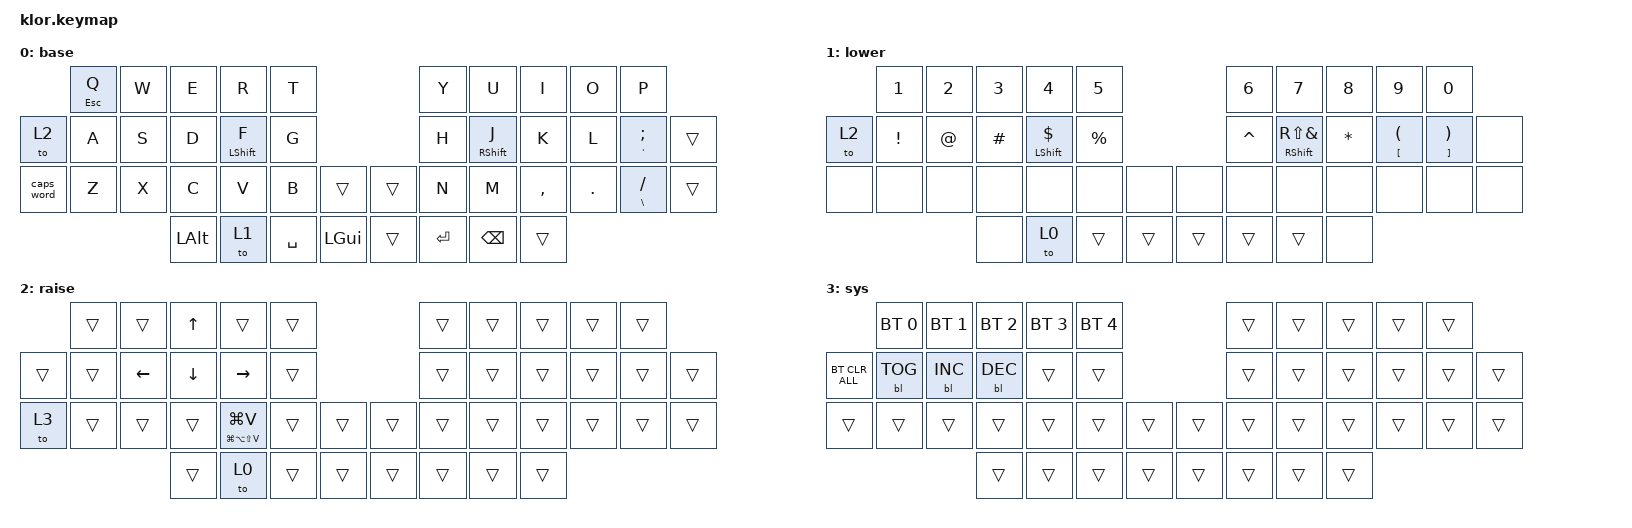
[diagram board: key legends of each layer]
//                               █         █    █            ▄▄▄▀▀▀▀▀▀▄▄▄        █▀▀▀▀▀▀▀▀▀▀█
//                               █        █     █          ▄▀            ▀▄      █          █
//                               █       █      █        ▄▀                ▀▄    █          █
//                               █      █       █        █                  █    █          █
//                               █     █        █       █                    █   █          █
//                               █    █         █       █                    █   █▄▄▄▄▄▄▄▄▄▄█
//                               █   █ █        █       █                    █   █      █
//                               █  █   █       █        █                  █    █       █
//                               █ █     █      █        ▀▄                ▄▀    █        █
//                               ██       █     █          ▀▄            ▄▀      █         █
//                               █         █    █▄▄▄▄▄▄▄▄    ▀▀▀▄▄▄▄▄▄▀▀▀        █          █
//
// ▄▄▄▄▄▄▄▄▄▄▄▄▄▄▄▄▄▄▄▄▄▄▄▄▄▄▄▄▄▄▄▄▄▄▄▄▄▄▄▄▄▄▄▄▄▄▄▄▄▄▄▄▄▄▄▄▄▄▄▄▄▄▄▄▄▄▄▄▄▄▄▄▄▄▄▄▄▄▄▄▄▄▄▄▄▄▄▄▄▄▄▄▄▄▄▄▄▄▄▄▄▄▄▄▄▄▄▄▄▄▄▄▄▄▄▄▄▄▄▄▄▄▄▄▄

#include <behaviors.dtsi>
#include <dt-bindings/zmk/backlight.h>
#include <dt-bindings/zmk/bt.h>
#include <dt-bindings/zmk/keys.h>

#define BASE   0
#define LOWER  1
#define RAISE  2
#define ADJUST 3

/ {
    behaviors {
        hm: homerow_mods {
            compatible = "zmk,behavior-hold-tap";
            label = "HOMEROW_MODS";
            #binding-cells = <2>;
            tapping-term-ms = <150>;
            quick_tap_ms = <0>;
            flavor = "tap-preferred";
            bindings = <&kp>, <&kp>;
        };
    };

    combos { compatible = "zmk,combos"; };

    keymap {
        compatible = "zmk,keymap";

        // ▄▄▄▄▄▄▄▄▄▄▄▄▄▄▄▄▄▄▄▄▄▄▄▄▄▄▄▄▄▄▄▄▄▄▄▄▄▄▄▄▄▄▄▄▄▄▄▄▄▄▄▄▄▄▄▄▄▄▄▄▄▄▄▄▄▄▄▄▄▄▄▄▄▄▄▄▄▄▄▄▄▄▄▄▄▄▄▄▄▄▄▄▄▄▄▄▄▄▄▄▄▄▄▄▄▄▄▄▄▄▄▄▄▄▄▄▄▄▄▄▄▄▄▄▄▄▄▄▄▄▄▄▄▄▄▄▄▄▄▄▄▄
        // ▄▄▄▄▄▄▄▄▄▄▄▄▄▄▄▄▄▄▄▄▄▄▄▄▄▄▄▄▄▄▄▄▄▄▄▄▄▄▄▄▄▄▄▄▄▄▄▄▄▄▄▄▄▄▄▄▄▄▄▄▄▄▄▄▄▄▄▄▄▄▄▄▄▄▄▄▄▄▄▄▄▄▄▄▄▄▄▄▄▄▄▄▄▄▄▄▄▄▄▄▄▄▄▄▄▄▄▄▄▄▄▄▄▄▄▄▄▄▄▄▄▄▄▄▄▄▄▄▄▄▄▄▄▄▄▄▄▄▄▄▄▄
        // ▄▄▄▄▄▄▄▄▄▄▄▄▄▄▄▄▄▄▄▄▄▄▄▄▄▄▄▄▄▄▄▄▄▄▄▄▄▄▄▄▄▄▄▄▄▄▄▄▄▄▄▄▄▄▄▄▄▄▄▄▄▄▄▄▄▄▄▄▄▄▄▄▄▄▄▄▄▄▄▄▄▄▄▄▄▄▄▄▄▄▄▄▄▄▄▄▄▄▄▄▄▄▄▄▄▄▄▄▄▄▄▄▄▄▄▄▄▄▄▄▄▄▄▄▄
        // ▄▄▄▄▄▄▄▄▄▄▄▄▄▄▄▄▄▄▄▄▄▄▄▄▄▄▄▄▄▄▄▄▄▄▄▄▄▄▄▄▄▄▄▄▄▄▄▄▄▄▄▄▄▄▄▄▄▄▄▄▄▄▄▄▄▄▄▄▄▄▄▄▄▄▄▄▄▄▄▄▄▄▄▄▄▄▄▄▄▄▄▄▄▄▄▄▄▄▄▄▄▄▄▄▄▄▄▄▄▄▄▄▄▄▄▄▄▄▄▄▄▄▄▄▄

        base {
            bindings = <
            &hm ESCAPE Q  &kp W  &kp E         &kp R        &kp T                            &kp Y    &kp U              &kp I      &kp O    &kp P
&to 2       &kp A         &kp S  &kp D         &hm LSHFT F  &kp G                            &kp H    &hm RIGHT_SHIFT J  &kp K      &kp L    &hm SQT SEMICOLON    &trans
&caps_word  &kp Z         &kp X  &kp C         &kp V        &kp B      &trans        &trans  &kp N    &kp M              &kp COMMA  &kp DOT  &hm BACKSLASH SLASH  &trans
                                 &kp LEFT_ALT  &to 1        &kp SPACE  &kp LEFT_GUI  &trans  &kp RET  &kp BSPC           &trans
            >;
        };

        lower {
            bindings = <
       &kp N1    &kp N2       &kp N3    &kp N4            &kp N5                       &kp N6     &kp N7                         &kp N8        &kp N9                             &kp N0
&to 2  &kp EXCL  &kp AT_SIGN  &kp HASH  &hm LSHFT DOLLAR  &kp PERCENT                  &kp CARET  &hm RIGHT_SHIFT RS(AMPERSAND)  &kp ASTERISK  &hm LEFT_BRACKET LEFT_PARENTHESIS  &hm RIGHT_BRACKET RIGHT_PARENTHESIS  &none
&none  &none     &none        &none     &none             &none        &none   &none   &none      &none                          &none         &none                              &none                                &none
                              &none     &to 0             &trans       &trans  &trans  &trans     &trans                         &none
            >;
        };

        raise {
            bindings = <
        &trans  &trans    &kp UP_ARROW  &trans                   &trans                  &trans  &trans  &trans  &trans  &trans
&trans  &trans  &kp LEFT  &kp DOWN      &kp RIGHT                &trans                  &trans  &trans  &trans  &trans  &trans  &trans
&to 3   &trans  &trans    &trans        &hm LG(LA(LS(V))) LG(V)  &trans  &trans  &trans  &trans  &trans  &trans  &trans  &trans  &trans
                          &trans        &to 0                    &trans  &trans  &trans  &trans  &trans  &trans
            >;
        };

        sys {
            bindings = <
                &bt BT_SEL 0  &bt BT_SEL 1  &bt BT_SEL 2  &bt BT_SEL 3  &bt BT_SEL 4                  &trans  &trans  &trans  &trans  &trans
&bt BT_CLR_ALL  &bl BL_TOG    &bl BL_INC    &bl BL_DEC    &trans        &trans                        &trans  &trans  &trans  &trans  &trans  &trans
&trans          &trans        &trans        &trans        &trans        &trans        &trans  &trans  &trans  &trans  &trans  &trans  &trans  &trans
                                            &trans        &trans        &trans        &trans  &trans  &trans  &trans  &trans
            >;
        };
    };
};
